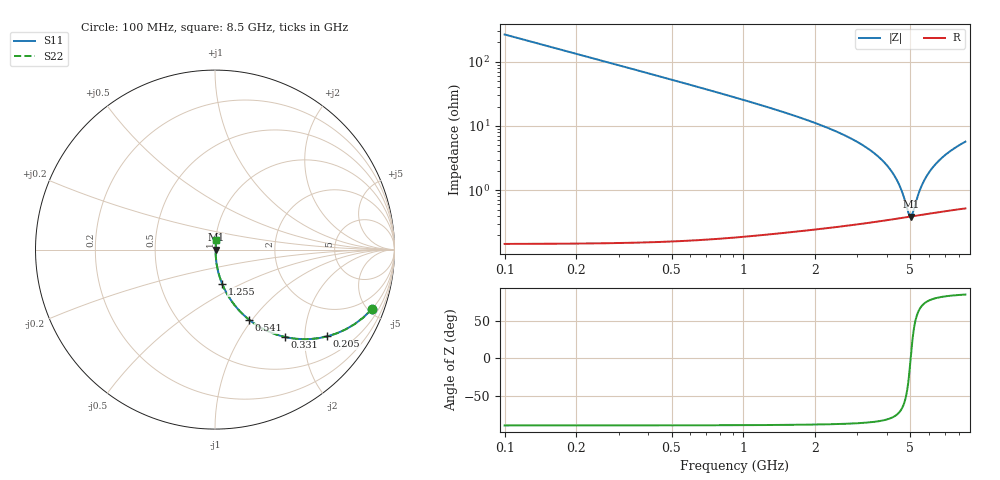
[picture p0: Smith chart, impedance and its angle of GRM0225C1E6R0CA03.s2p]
!Murata Part Number: GRM0225C1E6R0CA03
!These Parameters are Measured in Series Mode Connection
!Data Generated on Mar 30, 2021
!  o--ll--o
!Port1  Port2
!  o------o
!Operation Temp=25[degC], DC Bias Voltage=0[V]
!Freq. Start=100[MHz] Stop=9[GHz] 401[Steps]
# Hz S RI R 50
!Freq.(Hz) S11(Real) S11(Imag) S21(Real) S21(Imag) S12(Real) S12(Imag) S22(Real) S22(Imag)
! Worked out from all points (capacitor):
!   401 points, 100 MHz to 8.5 GHz, reference 50 ohm
!   read as one part in series: C = 6 pF near 142 MHz
!   lowest |Z| = 388 mohm at 5.014 GHz (marker M1)
!   series resonance near 5.016 GHz, so ESL is about 170 pH
!   S11 on the Smith chart (normalised r, x): 100 MHz: 1.00, -5.30; 205 MHz: 1.00, -2.58; 331 MHz: 1.00, -1.60; 541 MHz: 1.00, -0.97; 1.255 GHz: 1.00, -0.39; 8.5 GHz: 1.01, +0.11
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1e8  0.8753 -0.3301  0.1247 0.3301  0.1247 0.3301  0.8753 -0.3301
1.42e8  0.7768 -0.416  0.2232 0.416  0.2232 0.416  0.7768 -0.416
2.05e8  0.6251 -0.4835  0.3749 0.4835  0.3749 0.4835  0.6251 -0.4835
3.31e8  0.389 -0.4866  0.611 0.4866  0.611 0.4866  0.389 -0.4866
4.36e8  0.2675 -0.4414  0.7325 0.4414  0.7325 0.4414  0.2675 -0.4414
5.41e8  0.1907 -0.3912  0.8093 0.3912  0.8093 0.3912  0.1907 -0.3912
8.14e8  0.0925 -0.2869  0.9075 0.2869  0.9075 0.2869  0.0925 -0.2869
1.255e9  0.0393 -0.1893  0.9607 0.1893  0.9607 0.1893  0.0393 -0.1893
1.507e9  0.0268 -0.1548  0.9732 0.1548  0.9732 0.1548  0.0268 -0.1548
2.914e9  0.00641 -0.0592  0.9936 0.0592  0.9936 0.0592  0.00641 -0.0592
3.733e9  0.00425 -0.0311  0.9958 0.0311  0.9958 0.0311  0.00425 -0.0311
4.3e9  0.0038 -0.016  0.9962 0.016  0.9962 0.016  0.0038 -0.016
4.594e9  0.00376 -0.00909  0.9962 0.00909  0.9962 0.00909  0.00376 -0.00909
4.93e9  0.00383 -0.00179  0.9962 0.00179  0.9962 0.00179  0.00383 -0.00179
5.014e9  0.00387 -4.54e-05  0.9961 4.54e-05  0.9961 4.54e-05  0.00387 -4.54e-05
5.098e9  0.00391 0.00167  0.9961 -0.00167  0.9961 -0.00167  0.00391 0.00167
5.455e9  0.00414 0.00864  0.9959 -0.00864  0.9959 -0.00864  0.00414 0.00864
5.707e9  0.00435 0.0133  0.9957 -0.0133  0.9957 -0.0133  0.00435 0.0133
5.98e9  0.00461 0.0181  0.9954 -0.0181  0.9954 -0.0181  0.00461 0.0181
6.295e9  0.00496 0.0235  0.995 -0.0235  0.995 -0.0235  0.00496 0.0235
7.114e9  0.00605 0.0364  0.9939 -0.0364  0.9939 -0.0364  0.00605 0.0364
8.5e9  0.00833 0.0559  0.9917 -0.0559  0.9917 -0.0559  0.00833 0.0559
